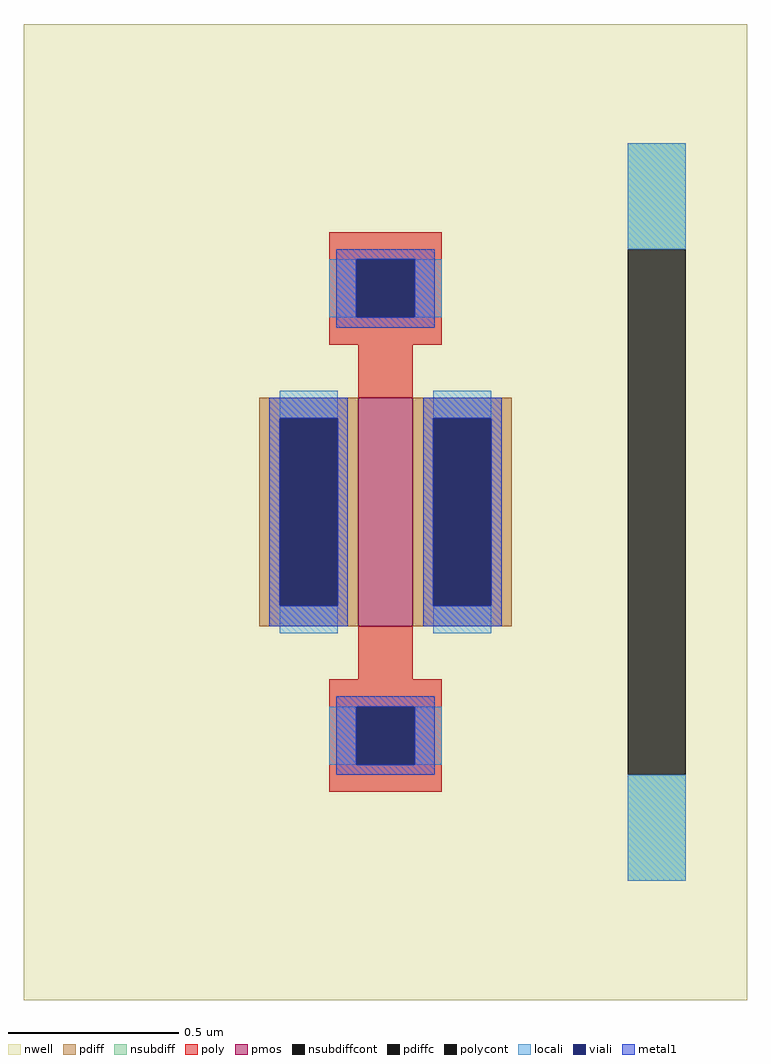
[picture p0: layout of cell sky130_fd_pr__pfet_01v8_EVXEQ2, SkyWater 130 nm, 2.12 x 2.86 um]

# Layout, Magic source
magic
tech sky130A
magscale 1 2
<< nwell >>
rect -212 -286 212 286
<< pmos >>
rect -16 -67 16 67
<< pdiff >>
rect -74 55 -16 67
rect -74 -55 -62 55
rect -28 -55 -16 55
rect -74 -67 -16 -55
rect 16 55 74 67
rect 16 -55 28 55
rect 62 -55 74 55
rect 16 -67 74 -55
<< pdiffc >>
rect -62 -55 -28 55
rect 28 -55 62 55
<< nsubdiff >>
rect 142 154 176 216
rect 142 -216 176 -154
<< nsubdiffcont >>
rect 142 -154 176 154
<< poly >>
rect -33 148 33 164
rect -33 114 -17 148
rect 17 114 33 148
rect -33 98 33 114
rect -16 67 16 98
rect -16 -98 16 -67
rect -33 -114 33 -98
rect -33 -148 -17 -114
rect 17 -148 33 -114
rect -33 -164 33 -148
<< polycont >>
rect -17 114 17 148
rect -17 -148 17 -114
<< locali >>
rect 142 154 176 216
rect -33 114 -17 148
rect 17 114 33 148
rect -62 55 -28 71
rect -62 -71 -28 -55
rect 28 55 62 71
rect 28 -71 62 -55
rect -33 -148 -17 -114
rect 17 -148 33 -114
rect 142 -216 176 -154
<< viali >>
rect -17 114 17 148
rect -62 -55 -28 55
rect 28 -55 62 55
rect -17 -148 17 -114
<< metal1 >>
rect -29 148 29 154
rect -29 114 -17 148
rect 17 114 29 148
rect -29 108 29 114
rect -68 55 -22 67
rect -68 -55 -62 55
rect -28 -55 -22 55
rect -68 -67 -22 -55
rect 22 55 68 67
rect 22 -55 28 55
rect 62 -55 68 55
rect 22 -67 68 -55
rect -29 -114 29 -108
rect -29 -148 -17 -114
rect 17 -148 29 -114
rect -29 -154 29 -148
<< properties >>
string FIXED_BBOX -159 -233 159 233
string gencell sky130_fd_pr__pfet_01v8
string library sky130
string parameters w 0.668 l 0.16 m 1 nf 1 diffcov 100 polycov 100 guard 1 glc 1 grc 1 gtc 1 gbc 1 tbcov 100 rlcov 100 topc 1 botc 1 poverlap 0 doverlap 1 lmin 0.15 wmin 0.42 compatible {sky130_fd_pr__pfet_01v8  sky130_fd_pr__pfet_01v8_lvt sky130_fd_pr__pfet_01v8_hvt  sky130_fd_pr__pfet_g5v0d10v5} full_metal 1 viasrc 100 viadrn 100 viagate 100 viagb 0 viagr 0 viagl 0 viagt 0
<< end >>
